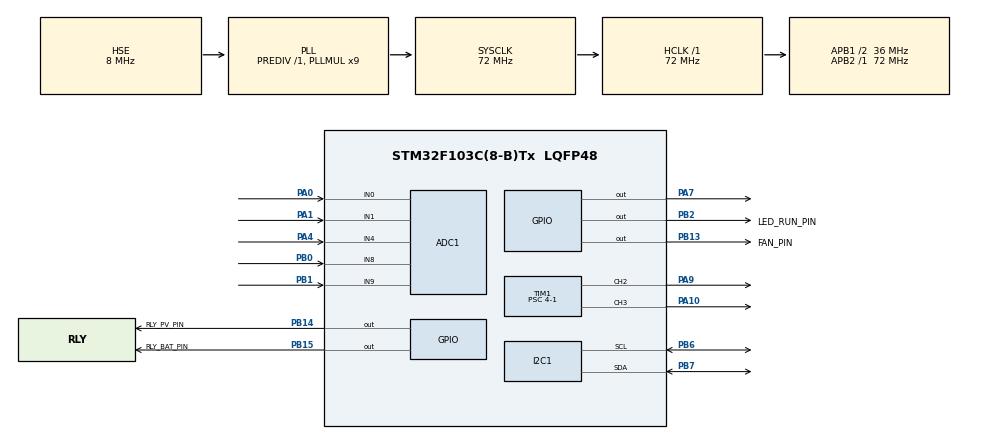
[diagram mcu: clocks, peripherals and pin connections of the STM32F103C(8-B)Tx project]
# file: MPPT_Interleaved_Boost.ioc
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ADC1.Channel-4\#ChannelRegularConversion=ADC_CHANNEL_0
ADC1.Channel-5\#ChannelRegularConversion=ADC_CHANNEL_1
ADC1.Channel-6\#ChannelRegularConversion=ADC_CHANNEL_4
ADC1.Channel-7\#ChannelRegularConversion=ADC_CHANNEL_8
ADC1.Channel-8\#ChannelRegularConversion=ADC_CHANNEL_9
ADC1.ContinuousConvMode=ENABLE
ADC1.EnableRegularConversion=ENABLE
ADC1.NbrOfConversion=5
ADC1.NbrOfConversionFlag=1
ADC1.Rank-4\#ChannelRegularConversion=1
ADC1.Rank-5\#ChannelRegularConversion=2
ADC1.Rank-6\#ChannelRegularConversion=3
ADC1.Rank-7\#ChannelRegularConversion=4
ADC1.Rank-8\#ChannelRegularConversion=5
ADC1.SamplingTime-4\#ChannelRegularConversion=ADC_SAMPLETIME_71CYCLES_5
ADC1.SamplingTime-5\#ChannelRegularConversion=ADC_SAMPLETIME_71CYCLES_5
ADC1.SamplingTime-6\#ChannelRegularConversion=ADC_SAMPLETIME_71CYCLES_5
ADC1.SamplingTime-7\#ChannelRegularConversion=ADC_SAMPLETIME_71CYCLES_5
ADC1.SamplingTime-8\#ChannelRegularConversion=ADC_SAMPLETIME_71CYCLES_5
ADC1.master=1
Dma.ADC1.0.Direction=DMA_PERIPH_TO_MEMORY
Dma.ADC1.0.Instance=DMA1_Channel1
Dma.ADC1.0.MemDataAlignment=DMA_MDATAALIGN_HALFWORD
Dma.ADC1.0.MemInc=DMA_MINC_ENABLE
Dma.ADC1.0.Mode=DMA_CIRCULAR
Dma.ADC1.0.PeriphDataAlignment=DMA_PDATAALIGN_HALFWORD
Dma.ADC1.0.PeriphInc=DMA_PINC_DISABLE
Dma.ADC1.0.Priority=DMA_PRIORITY_MEDIUM
Dma.Request0=ADC1
I2C1.I2C_Mode=I2C_Standard
Mcu.Family=STM32F1
Mcu.Name=STM32F103C(8-B)Tx
Mcu.Package=LQFP48
NVIC.DMA1_Channel1_IRQn=true\:0\:2\:true\:true\:true\:1\:false\:true\:true
NVIC.PriorityGroup=NVIC_PRIORITYGROUP_2
NVIC.TIM1_UP_IRQn=true\:0\:0\:false\:false\:true\:true\:true\:true
NVIC.TIM4_IRQn=true\:0\:1\:true\:false\:true\:true\:true\:true
PA0-WKUP.Signal=ADCx_IN0
PA1.Signal=ADCx_IN1
PA10.GPIO_Speed=GPIO_SPEED_FREQ_HIGH
PA10.Signal=S_TIM1_CH3
PA13.Mode=Serial_Wire
PA13.Signal=SYS_JTMS-SWDIO
PA14.Mode=Serial_Wire
PA14.Signal=SYS_JTCK-SWCLK
PA4.Signal=ADCx_IN4
PA7.Signal=GPIO_Output
PA9.GPIO_Speed=GPIO_SPEED_FREQ_HIGH
PA9.Signal=S_TIM1_CH2
PB0.Signal=ADCx_IN8
PB1.Signal=ADCx_IN9
PB13.GPIO_Label=FAN_PIN
PB13.GPIO_Speed=GPIO_SPEED_FREQ_HIGH
PB13.PinState=GPIO_PIN_RESET
PB13.Signal=GPIO_Output
PB14.GPIO_Label=RLY_PV_PIN
PB14.GPIO_Speed=GPIO_SPEED_FREQ_HIGH
PB14.PinState=GPIO_PIN_RESET
PB14.Signal=GPIO_Output
PB15.GPIO_Label=RLY_BAT_PIN
PB15.GPIO_Speed=GPIO_SPEED_FREQ_HIGH
PB15.PinState=GPIO_PIN_RESET
PB15.Signal=GPIO_Output
PB2.GPIO_Label=LED_RUN_PIN
PB2.Signal=GPIO_Output
PB6.Mode=I2C
PB6.Signal=I2C1_SCL
PB7.Mode=I2C
PB7.Signal=I2C1_SDA
PD0-OSC_IN.Mode=HSE-External-Oscillator
PD0-OSC_IN.Signal=RCC_OSC_IN
PD1-OSC_OUT.Mode=HSE-External-Oscillator
PD1-OSC_OUT.Signal=RCC_OSC_OUT
ProjectManager.HeapSize=0x200
ProjectManager.StackSize=0x400
ProjectManager.TargetToolchain=STM32CubeIDE
RCC.ADCPresc=RCC_ADCPCLK2_DIV6
RCC.AHBFreq_Value=72000000
RCC.APB1CLKDivider=RCC_HCLK_DIV2
RCC.APB1Freq_Value=36000000
RCC.APB1TimFreq_Value=72000000
RCC.APB2Freq_Value=72000000
RCC.APB2TimFreq_Value=72000000
RCC.HCLKFreq_Value=72000000
RCC.PLLMUL=RCC_PLL_MUL9
RCC.PLLSourceVirtual=RCC_PLLSOURCE_HSE
RCC.SYSCLKFreq_VALUE=72000000
RCC.SYSCLKSource=RCC_SYSCLKSOURCE_PLLCLK
RCC.USBFreq_Value=72000000
SH.ADCx_IN0.0=ADC1_IN0,IN0
SH.ADCx_IN1.0=ADC1_IN1,IN1
SH.ADCx_IN4.0=ADC1_IN4,IN4
SH.ADCx_IN8.0=ADC1_IN8,IN8
SH.ADCx_IN9.0=ADC1_IN9,IN9
SH.S_TIM1_CH2.0=TIM1_CH2,PWM Generation2 CH2
SH.S_TIM1_CH3.0=TIM1_CH3,PWM Generation3 CH3
TIM1.AutomaticOutput=TIM_AUTOMATICOUTPUT_ENABLE
TIM1.Channel-PWM\ Generation2\ CH2=TIM_CHANNEL_2
TIM1.Channel-PWM\ Generation3\ CH3=TIM_CHANNEL_3
TIM1.OCFastMode_PWM-PWM\ Generation2\ CH2=TIM_OCFAST_ENABLE
TIM1.OCFastMode_PWM-PWM\ Generation3\ CH3=TIM_OCFAST_ENABLE
TIM1.Period=300-1
TIM1.Prescaler=4-1
TIM4.Period=1000-1
TIM4.Prescaler=72-1
VP_TIM4_VS_ClockSourceINT.Mode=Internal
board=custom

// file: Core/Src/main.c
/* USER CODE BEGIN Header */
/**
  ******************************************************************************
  * @file           : main.c
  * @brief          : Main program body
  ******************************************************************************
  * @attention
  *
  * Copyright (c) 2025 STMicroelectronics.
  * All rights reserved.
  *
  * This software is licensed under terms that can be found in the LICENSE file
  * in the root directory of this software component.
  * If no LICENSE file comes with this software, it is provided AS-IS.
  *
  ******************************************************************************
  */
/* USER CODE END Header */
#include "main.h"
#include <stdlib.h>
/* File Role    : Titik masuk firmware STM32 untuk sistem MPPT interleaved boost.
 * Dependencies : main.h menarik seluruh modul (ADC sampling, MPPT, LCD, proteksi, PWM).
 * Fungsi inti  : Fungsi main(), Error_Handler(), serta callback HAL untuk timer.
 * Catatan      : Struktur arsitektur (HAL init, scheduler berbasis flag, ISR timer/PWM)
 *                dipertahankan; perubahan berfokus pada kebersihan format dan dokumentasi.
 * Perubahan   : 15 Mei 2026 - Terminologi diselaraskan: charging_flow mereferensikan
 *                MPPT engine pure SC-GOA (tanpa startup P&O), perilaku loop tetap kompatibel. */

ADC_HandleTypeDef hadc1;     /* Handle ADC utama untuk sampling sensor. */
DMA_HandleTypeDef hdma_adc1; /* DMA yang menggerakkan ADC dalam mode circular. */

I2C_HandleTypeDef hi2c1;     /* I2C untuk panel OLED. */

TIM_HandleTypeDef htim1;     /* Timer PWM interleaved (dua channel). */
TIM_HandleTypeDef htim4;     /* Timer basis waktu 1ms untuk scheduler sederhana. */

/* USER CODE BEGIN PV */
u8g2_t display;              /* Objek display u8g2 untuk rendering UI. */

uint8_t count_5mS	= 0;    /* Counter 5ms untuk scheduler. */
uint8_t count_10mS	= 0;    /* Counter 10ms untuk MPPT. */
uint8_t count_100mS	= 0;    /* Counter 100ms untuk LCD. */
uint8_t count_500mS	= 0;    /* Counter 500ms untuk proteksi. */
uint8_t count_1S	= 0;    /* Counter 1s untuk heartbeat LED. */

/* Struktur flag yang diset di ISR timer lalu dikonsumsi di main loop. */
typedef struct {
	uint8_t flag_1mS;
	uint8_t flag_5mS;
	uint8_t flag_10mS;
	uint8_t flag_100mS;
	uint8_t flag_500mS;
	uint8_t flag_1S;
} time_base_t;

time_base_t timeSch;         /* Instans scheduler global. */

/* USER CODE END PV */

void SystemClock_Config(void);
static void MX_GPIO_Init(void);
static void MX_DMA_Init(void);
static void MX_I2C1_Init(void);
static void MX_ADC1_Init(void);
static void MX_TIM4_Init(void);
static void MX_TIM1_Init(void);
static void MX_NVIC_Init(void);

int main(void)
{

  /* MCU Configuration--------------------------------------------------------*/

  /* Reset of all peripherals, Initializes the Flash interface and the Systick. */
  HAL_Init();

  /* Configure the system clock */
  SystemClock_Config();

  /* Initialize all configured peripherals */
  MX_GPIO_Init();
  MX_DMA_Init();
  MX_I2C1_Init();
  MX_ADC1_Init();
  MX_TIM4_Init();
  MX_TIM1_Init();

  /* Initialize interrupts */
  MX_NVIC_Init();
  /* USER CODE BEGIN 2 */
  srand(HAL_GetTick()); /* Seed RNG untuk metaheuristik GOA. */
  lcd_init();           /* Inisialisasi OLED (u8g2) dan splash screen. */
  DisplayRabbitAnimation(); /* Animasi pembuka untuk indikasi hidup. */
  HAL_GPIO_WritePin(FAN_PIN_GPIO_Port, FAN_PIN_Pin, GPIO_PIN_SET); /* Hidupkan kipas sementara saat boot. */

  HAL_TIM_Base_Start_IT(&htim4); /* Timer 4 sebagai basis waktu scheduler 1ms. */

  HAL_TIM_Base_Start_IT(&htim1); /* Timer 1 sebagai generator PWM interleaved. */
  HAL_TIM_PWM_Start(&htim1, TIM_CHANNEL_3); /* Channel PWM fase pertama. */
  HAL_TIM_PWM_Start(&htim1, TIM_CHANNEL_2); /* Channel PWM fase kedua. */

  HAL_ADCEx_Calibration_Start(&hadc1); /* Kalibrasi ADC internal sebelum sampling. */

  HAL_Delay(500); /* Jeda agar hardware stabil setelah kalibrasi. */

  HAL_ADC_Start_DMA(&hadc1, (uint32_t *)ADC_RAW, 5); /* Mulai ADC berantai 5 channel via DMA. */

  HAL_Delay(500); /* Jeda sebelum kipas dimatikan agar startup tetap dingin. */
  HAL_GPIO_WritePin(FAN_PIN_GPIO_Port, FAN_PIN_Pin, GPIO_PIN_RESET);
  /* USER CODE END 2 */

  /* Infinite loop */
  /* USER CODE BEGIN WHILE */
  while (1)
  {
	  if (timeSch.flag_1mS) {
		  timeSch.flag_1mS = 0;   /* Clear setelah diambil agar tidak double-run. */
		  adc_sampling();         /* Update data sensor; prerequisite untuk charging_flow. */
	  }
	  if (timeSch.flag_5mS) {
		  timeSch.flag_5mS = 0;   /* Slot cadangan jika butuh task 5ms di masa depan. */
	  }
	  if (timeSch.flag_10mS) {
		  timeSch.flag_10mS = 0;  /* 100 Hz: kecepatan utama state machine charging. */
		  charging_flow();        /* Jalankan MPPT engine SC-GOA + state machine charging. */
	  }
	  if (timeSch.flag_100mS) {
		  timeSch.flag_100mS = 0; /* 10 Hz: refresh UI agar tidak flicker. */
		  lcd_main_display();     /* Render layar utama OLED. */
	  }
	  if (timeSch.flag_500mS) {
		  timeSch.flag_500mS = 0; /* 2 Hz: proteksi & relay gating memiliki jeda lebih panjang. */
		  work_protect_charging();/* Evaluasi fault, kontrol kipas, dan relay. */
	  }
	  if (timeSch.flag_1S) {
		  timeSch.flag_1S = 0;    /* 1 Hz: heartbeat visual. */
		  HAL_GPIO_TogglePin(LED_RUN_PIN_GPIO_Port, LED_RUN_PIN_Pin);

	  }
    /* USER CODE END WHILE */

  }
}

void SystemClock_Config(void)
{
  RCC_OscInitTypeDef RCC_OscInitStruct = {0};
  RCC_ClkInitTypeDef RCC_ClkInitStruct = {0};
  RCC_PeriphCLKInitTypeDef PeriphClkInit = {0};

  /** Initializes the RCC Oscillators according to the specified parameters
  * in the RCC_OscInitTypeDef structure.
  */
  RCC_OscInitStruct.OscillatorType = RCC_OSCILLATORTYPE_HSE;
  RCC_OscInitStruct.HSEState = RCC_HSE_ON;
  RCC_OscInitStruct.HSEPredivValue = RCC_HSE_PREDIV_DIV1;
  RCC_OscInitStruct.HSIState = RCC_HSI_ON;
  RCC_OscInitStruct.PLL.PLLState = RCC_PLL_ON;
  RCC_OscInitStruct.PLL.PLLSource = RCC_PLLSOURCE_HSE;
  RCC_OscInitStruct.PLL.PLLMUL = RCC_PLL_MUL9;
  if (HAL_RCC_OscConfig(&RCC_OscInitStruct) != HAL_OK)
  {
    Error_Handler();
  }

  /** Initializes the CPU, AHB and APB buses clocks
  */
  RCC_ClkInitStruct.ClockType = RCC_CLOCKTYPE_HCLK|RCC_CLOCKTYPE_SYSCLK
                              |RCC_CLOCKTYPE_PCLK1|RCC_CLOCKTYPE_PCLK2;
  RCC_ClkInitStruct.SYSCLKSource = RCC_SYSCLKSOURCE_PLLCLK;
  RCC_ClkInitStruct.AHBCLKDivider = RCC_SYSCLK_DIV1;
  RCC_ClkInitStruct.APB1CLKDivider = RCC_HCLK_DIV2;
  RCC_ClkInitStruct.APB2CLKDivider = RCC_HCLK_DIV1;

  if (HAL_RCC_ClockConfig(&RCC_ClkInitStruct, FLASH_LATENCY_2) != HAL_OK)
  {
    Error_Handler();
  }
  PeriphClkInit.PeriphClockSelection = RCC_PERIPHCLK_ADC;
  PeriphClkInit.AdcClockSelection = RCC_ADCPCLK2_DIV6;
  if (HAL_RCCEx_PeriphCLKConfig(&PeriphClkInit) != HAL_OK)
  {
    Error_Handler();
  }
}

/**
  * @brief NVIC Configuration.
  * @retval None
  */
static void MX_NVIC_Init(void)
{
  /* DMA1_Channel1_IRQn interrupt configuration */
  HAL_NVIC_SetPriority(DMA1_Channel1_IRQn, 0, 2);
  HAL_NVIC_EnableIRQ(DMA1_Channel1_IRQn);
}

static void MX_ADC1_Init(void)
{

  ADC_ChannelConfTypeDef sConfig = {0};

  /** Common config
  */
  hadc1.Instance = ADC1;
  hadc1.Init.ScanConvMode = ADC_SCAN_ENABLE;
  hadc1.Init.ContinuousConvMode = ENABLE;
  hadc1.Init.DiscontinuousConvMode = DISABLE;
  hadc1.Init.ExternalTrigConv = ADC_SOFTWARE_START;
  hadc1.Init.DataAlign = ADC_DATAALIGN_RIGHT;
  hadc1.Init.NbrOfConversion = 5;
  if (HAL_ADC_Init(&hadc1) != HAL_OK)
  {
    Error_Handler();
  }

  /** Configure Regular Channel
  */
  sConfig.Channel = ADC_CHANNEL_0;
  sConfig.Rank = ADC_REGULAR_RANK_1;
  sConfig.SamplingTime = ADC_SAMPLETIME_71CYCLES_5;
  if (HAL_ADC_ConfigChannel(&hadc1, &sConfig) != HAL_OK)
  {
    Error_Handler();
  }

  /** Configure Regular Channel
  */
  sConfig.Channel = ADC_CHANNEL_1;
  sConfig.Rank = ADC_REGULAR_RANK_2;
  if (HAL_ADC_ConfigChannel(&hadc1, &sConfig) != HAL_OK)
  {
    Error_Handler();
  }

  /** Configure Regular Channel
  */
  sConfig.Channel = ADC_CHANNEL_4;
  sConfig.Rank = ADC_REGULAR_RANK_3;
  if (HAL_ADC_ConfigChannel(&hadc1, &sConfig) != HAL_OK)
  {
    Error_Handler();
  }

  /** Configure Regular Channel
  */
  sConfig.Channel = ADC_CHANNEL_8;
  sConfig.Rank = ADC_REGULAR_RANK_4;
  if (HAL_ADC_ConfigChannel(&hadc1, &sConfig) != HAL_OK)
  {
    Error_Handler();
  }

  /** Configure Regular Channel
  */
  sConfig.Channel = ADC_CHANNEL_9;
  sConfig.Rank = ADC_REGULAR_RANK_5;
  if (HAL_ADC_ConfigChannel(&hadc1, &sConfig) != HAL_OK)
  {
    Error_Handler();
  }

}

static void MX_I2C1_Init(void)
{

  hi2c1.Instance = I2C1;
  hi2c1.Init.ClockSpeed = 100000;
  hi2c1.Init.DutyCycle = I2C_DUTYCYCLE_2;
  hi2c1.Init.OwnAddress1 = 0;
  hi2c1.Init.AddressingMode = I2C_ADDRESSINGMODE_7BIT;
  hi2c1.Init.DualAddressMode = I2C_DUALADDRESS_DISABLE;
  hi2c1.Init.OwnAddress2 = 0;
  hi2c1.Init.GeneralCallMode = I2C_GENERALCALL_DISABLE;
  hi2c1.Init.NoStretchMode = I2C_NOSTRETCH_DISABLE;
  if (HAL_I2C_Init(&hi2c1) != HAL_OK)
  {
    Error_Handler();
  }

}

static void MX_TIM1_Init(void)
{

  TIM_MasterConfigTypeDef sMasterConfig = {0};
  TIM_OC_InitTypeDef sConfigOC = {0};
  TIM_BreakDeadTimeConfigTypeDef sBreakDeadTimeConfig = {0};

  htim1.Instance = TIM1;
  htim1.Init.Prescaler = 4-1;
  htim1.Init.CounterMode = TIM_COUNTERMODE_UP;
  htim1.Init.Period = 300-1;
  htim1.Init.ClockDivision = TIM_CLOCKDIVISION_DIV1;
  htim1.Init.RepetitionCounter = 0;
  htim1.Init.AutoReloadPreload = TIM_AUTORELOAD_PRELOAD_DISABLE;
  if (HAL_TIM_PWM_Init(&htim1) != HAL_OK)
  {
    Error_Handler();
  }
  sMasterConfig.MasterOutputTrigger = TIM_TRGO_RESET;
  sMasterConfig.MasterSlaveMode = TIM_MASTERSLAVEMODE_DISABLE;
  if (HAL_TIMEx_MasterConfigSynchronization(&htim1, &sMasterConfig) != HAL_OK)
  {
    Error_Handler();
  }
  sConfigOC.OCMode = TIM_OCMODE_PWM1;
  sConfigOC.Pulse = 0;
  sConfigOC.OCPolarity = TIM_OCPOLARITY_HIGH;
  sConfigOC.OCNPolarity = TIM_OCNPOLARITY_HIGH;
  sConfigOC.OCFastMode = TIM_OCFAST_ENABLE;
  sConfigOC.OCIdleState = TIM_OCIDLESTATE_RESET;
  sConfigOC.OCNIdleState = TIM_OCNIDLESTATE_RESET;
  if (HAL_TIM_PWM_ConfigChannel(&htim1, &sConfigOC, TIM_CHANNEL_2) != HAL_OK)
  {
    Error_Handler();
  }
  if (HAL_TIM_PWM_ConfigChannel(&htim1, &sConfigOC, TIM_CHANNEL_3) != HAL_OK)
  {
    Error_Handler();
  }
  sBreakDeadTimeConfig.OffStateRunMode = TIM_OSSR_DISABLE;
  sBreakDeadTimeConfig.OffStateIDLEMode = TIM_OSSI_DISABLE;
  sBreakDeadTimeConfig.LockLevel = TIM_LOCKLEVEL_OFF;
  sBreakDeadTimeConfig.DeadTime = 0;
  sBreakDeadTimeConfig.BreakState = TIM_BREAK_DISABLE;
  sBreakDeadTimeConfig.BreakPolarity = TIM_BREAKPOLARITY_HIGH;
  sBreakDeadTimeConfig.AutomaticOutput = TIM_AUTOMATICOUTPUT_ENABLE;
  if (HAL_TIMEx_ConfigBreakDeadTime(&htim1, &sBreakDeadTimeConfig) != HAL_OK)
  {
    Error_Handler();
  }
  HAL_TIM_MspPostInit(&htim1);

}

static void MX_TIM4_Init(void)
{

  TIM_ClockConfigTypeDef sClockSourceConfig = {0};
  TIM_MasterConfigTypeDef sMasterConfig = {0};

  htim4.Instance = TIM4;
  htim4.Init.Prescaler = 72-1;
  htim4.Init.CounterMode = TIM_COUNTERMODE_UP;
  htim4.Init.Period = 1000-1;
  htim4.Init.ClockDivision = TIM_CLOCKDIVISION_DIV1;
  htim4.Init.AutoReloadPreload = TIM_AUTORELOAD_PRELOAD_DISABLE;
  if (HAL_TIM_Base_Init(&htim4) != HAL_OK)
  {
    Error_Handler();
  }
  sClockSourceConfig.ClockSource = TIM_CLOCKSOURCE_INTERNAL;
  if (HAL_TIM_ConfigClockSource(&htim4, &sClockSourceConfig) != HAL_OK)
  {
    Error_Handler();
  }
  sMasterConfig.MasterOutputTrigger = TIM_TRGO_RESET;
  sMasterConfig.MasterSlaveMode = TIM_MASTERSLAVEMODE_DISABLE;
  if (HAL_TIMEx_MasterConfigSynchronization(&htim4, &sMasterConfig) != HAL_OK)
  {
    Error_Handler();
  }

}

static void MX_DMA_Init(void)
{

  /* DMA controller clock enable */
  __HAL_RCC_DMA1_CLK_ENABLE();

}

static void MX_GPIO_Init(void)
{
  GPIO_InitTypeDef GPIO_InitStruct = {0};

  /* GPIO Ports Clock Enable */
  __HAL_RCC_GPIOD_CLK_ENABLE();
  __HAL_RCC_GPIOA_CLK_ENABLE();
  __HAL_RCC_GPIOB_CLK_ENABLE();

  /*Configure GPIO pin Output Level */
  HAL_GPIO_WritePin(GPIOA, GPIO_PIN_7, GPIO_PIN_RESET);

  /*Configure GPIO pin Output Level */
  HAL_GPIO_WritePin(GPIOB, LED_RUN_PIN_Pin|FAN_PIN_Pin|RLY_PV_PIN_Pin|RLY_BAT_PIN_Pin, GPIO_PIN_RESET);

  /*Configure GPIO pin : PA7 */
  GPIO_InitStruct.Pin = GPIO_PIN_7;
  GPIO_InitStruct.Mode = GPIO_MODE_OUTPUT_PP;
  GPIO_InitStruct.Pull = GPIO_NOPULL;
  GPIO_InitStruct.Speed = GPIO_SPEED_FREQ_LOW;
  HAL_GPIO_Init(GPIOA, &GPIO_InitStruct);

  /*Configure GPIO pin : LED_RUN_PIN_Pin */
  GPIO_InitStruct.Pin = LED_RUN_PIN_Pin;
  GPIO_InitStruct.Mode = GPIO_MODE_OUTPUT_PP;
  GPIO_InitStruct.Pull = GPIO_NOPULL;
  GPIO_InitStruct.Speed = GPIO_SPEED_FREQ_LOW;
  HAL_GPIO_Init(LED_RUN_PIN_GPIO_Port, &GPIO_InitStruct);

  /*Configure GPIO pins : FAN_PIN_Pin RLY_PV_PIN_Pin RLY_BAT_PIN_Pin */
  GPIO_InitStruct.Pin = FAN_PIN_Pin|RLY_PV_PIN_Pin|RLY_BAT_PIN_Pin;
  GPIO_InitStruct.Mode = GPIO_MODE_OUTPUT_PP;
  GPIO_InitStruct.Pull = GPIO_NOPULL;
  GPIO_InitStruct.Speed = GPIO_SPEED_FREQ_HIGH;
  HAL_GPIO_Init(GPIOB, &GPIO_InitStruct);

}

/* USER CODE BEGIN 4 */
void HAL_TIM_PeriodElapsedCallback(TIM_HandleTypeDef *htim) {
	if(htim == &htim1) {
		/* Timer PWM: memanggil shift interleaving setiap perioda PWM. */
		if(flag_enter_charge){
			shift_pwm_channel++;          /* Geser channel aktif (1 -> 2 -> 1 ...) */
			if (shift_pwm_channel >= 3) { /* Wrap ke 1 ketika melewati kanal kedua. */
				shift_pwm_channel = 1;
			}
			pwm_shift_out(shift_pwm_channel, PWM_VALUE); /* Tulis duty terkini ke channel aktif. */
		}
		else {
			/* Charging belum diizinkan: pastikan PWM mati dan state nol. */
			shift_pwm_channel = 0;
			duty_cycle = 0;
			PWM_VALUE = 0;
			pwm_off();
		}
	}

	if (htim == &htim4){ //update Timer 1mS
		timeSch.flag_1mS = 1; /* Setiap 1ms: flag dasar untuk sampling. */
		count_5mS++;          /* Hitung maju untuk turunan periode 5ms. */
		count_10mS++;         /* Hitung maju untuk turunan periode 10ms. */
		if (count_5mS >= 5) {
			timeSch.flag_5mS = 1; /* Jadwalkan tugas 5ms. */
			count_5mS = 0;
		}
		if (count_10mS >= 10) {
			timeSch.flag_10mS = 1; /* Jadwalkan tugas 10ms (MPPT). */
			count_100mS++;         /* Siapkan turunan 100ms. */
			count_10mS = 0;
		}
		if (count_100mS >= 10) {
			timeSch.flag_100mS = 1; /* Jadwalkan tugas 100ms (LCD). */
			count_500mS++;          /* Siapkan turunan 500ms. */
			count_100mS = 0;
		}
		if (count_500mS >= 5) {
			timeSch.flag_500mS = 1; /* Jadwalkan tugas 500ms (proteksi/relay). */
			count_1S++;             /* Siapkan heartbeat 1 detik. */
			count_500mS = 0;
		}
		if (count_1S >= 2) {
			timeSch.flag_1S = 1; /* Jadwalkan heartbeat LED. */
			count_1S = 0;
		}

	}
}
/* USER CODE END 4 */

void Error_Handler(void)
{
  __disable_irq();
  while (1)
  {
  }
}
